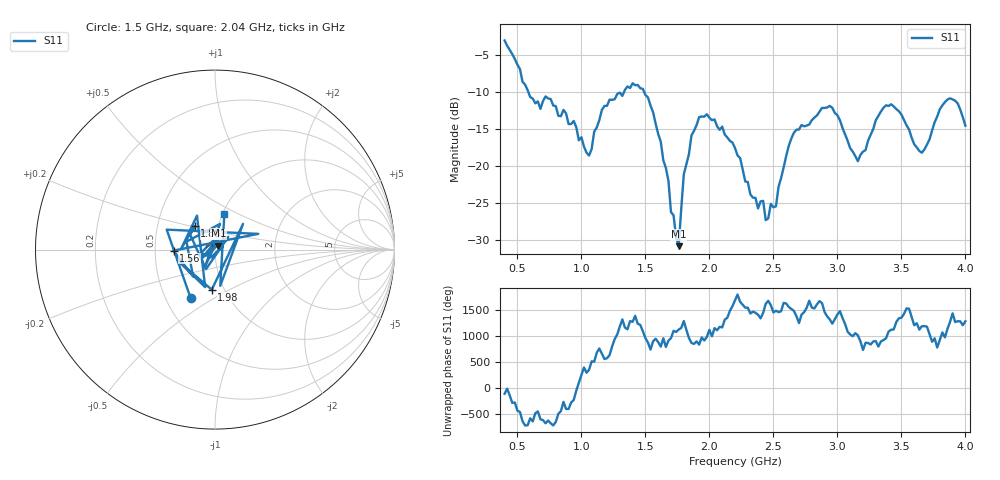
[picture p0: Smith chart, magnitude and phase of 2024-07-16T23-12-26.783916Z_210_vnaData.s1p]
!Created with skrf (http://scikit-rf.org).
# Hz S RI R 50.0
!freq ReS11 ImS11
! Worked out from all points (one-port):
!   181 points, 400 MHz to 4 GHz, reference 50 ohm
!   lowest |S11| = -30.8 dB at 1.76 GHz (marker M1), VSWR 1.06, Z = 51.9 + j2.2 ohm
!   |S11| at or under -10 dB: 585.7 MHz to 1.332 GHz (746.8 MHz wide, 77.9 % of centre); 1.491 GHz to end of sweep
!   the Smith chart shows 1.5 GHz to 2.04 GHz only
!   S11 on the Smith chart (normalised r, x): 1.5 GHz: 0.67, -0.40; 1.56 GHz: 0.62, -0.01; 1.88 GHz: 0.77, +0.21; 1.98 GHz: 0.87, -0.41; 2.04 GHz: 1.02, +0.43
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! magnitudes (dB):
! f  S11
! 400 MHz  -3.0
! 640 MHz  -11.5
! 860 MHz  -12.4
! 1.06 GHz  -18.6
! 1.16 GHz  -12.4
! 1.3 GHz  -10.1
! 1.5 GHz  -10.4
! 1.56 GHz  -12.7
! 1.68 GHz  -22.0
! 1.76 GHz  -30.8
! 1.8 GHz  -21.1
! 1.88 GHz  -15.2
! 1.98 GHz  -13.0
! 2.04 GHz  -13.7
! 2.2 GHz  -17.6
! 2.32 GHz  -23.8
! 2.42 GHz  -24.7
! 2.44 GHz  -27.3
! 2.52 GHz  -25.4
! 2.66 GHz  -15.5
! 2.94 GHz  -11.9
! 3.1 GHz  -17.6
! 3.16 GHz  -19.4
! 3.38 GHz  -11.8
! 3.56 GHz  -15.1
! 3.66 GHz  -18.2
! 3.88 GHz  -10.8
! 4 GHz  -14.5
